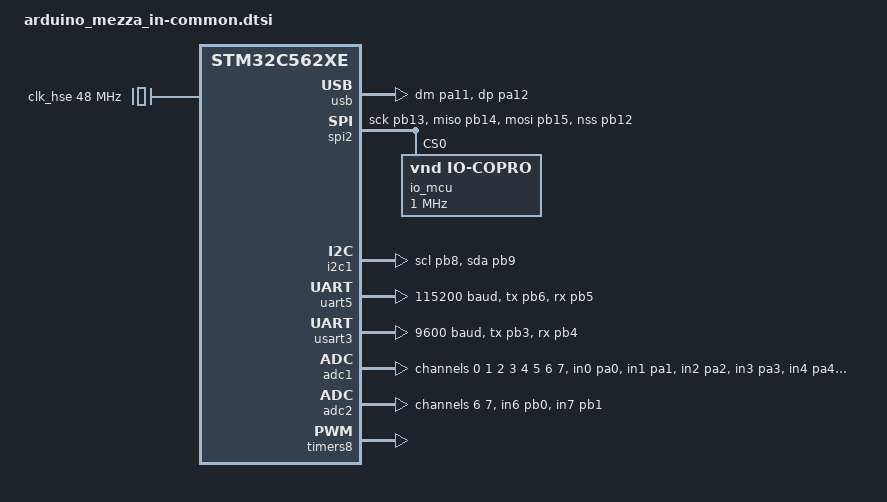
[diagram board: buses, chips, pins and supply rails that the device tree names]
/*
 * Copyright (c) 2026 Arduino SA
 *
 * SPDX-License-Identifier: Apache-2.0
 */

#include <st/c5/stm32c562Xe.dtsi>
#include <st/c5/stm32c5(5-6)2c(c-e)ux-pinctrl.dtsi>
#include <zephyr/dt-bindings/sensor/qdec_stm32.h>
#include <zephyr/dt-bindings/led/led.h>
#include <zephyr/dt-bindings/clock/stm32c5_clock.h>
#include <zephyr/dt-bindings/input/input-event-codes.h>

&flash0 {
	partitions {
		compatible = "fixed-partitions";
		#address-cells = <1>;
		#size-cells = <1>;

		boot_partition: partition@0 {
			label = "mcuboot";
			reg = <0x00000000 DT_SIZE_K(64)>;
		};

		slot0_partition: partition@10000 {
			label = "image-0";
			reg = <0x00010000 DT_SIZE_K(224)>;
		};

		slot1_partition: partition@100000 {
			label = "image-1";
			reg = <0x00208000 DT_SIZE_K(224)>;
		};
	};
};

/*
 * USB Full Speed
 */

zephyr_udc0: &usb {
	pinctrl-0 = <&usb_dm_pa11 &usb_dp_pa12>;
	pinctrl-names = "default";
	status = "okay";
};

/*
 * ------------------------------- CLOCKS
 */

&clk_hse {
	clock-frequency = <DT_FREQ_M(48)>;
	status = "okay";
};

&clk_psis {
	clock-frequency = <DT_FREQ_M(144)>;
	status = "okay";
};

&clk_hsis {
	status = "okay";
};

&rcc {
	st,psi-source = "HSE";
	st,psi-frequency = <144>;
	clock-frequency = <DT_FREQ_M(144)>;
	ahb-prescaler = <1>;
	apb1-prescaler = <1>;
	apb2-prescaler = <1>;
	apb3-prescaler = <1>;
	status = "okay";
};

/*
 * SPI
 */

/* spi to 2-nd microcontroller */
&spi2 {
	pinctrl-0 = <&spi2_sck_pb13 &spi2_miso_pb14 &spi2_mosi_pb15 &spi2_nss_pb12>;
	pinctrl-names = "default";
	status = "okay";

	io_mcu: mcu2@0 {
		compatible = "vnd,io-copro";
		reg = <0>;
		spi-max-frequency = <1000000>;
	};
};

/*
 * I2C
 */

/* espansion I2C */
&i2c1 {
	pinctrl-0 = <&i2c1_scl_pb8 &i2c1_sda_pb9>;
	pinctrl-names = "default";
	status = "okay";
};

/*
 * UART
 */

/* expansion uart */
&uart5 {
	pinctrl-0 = <&uart5_tx_pb6 &uart5_rx_pb5>;
	pinctrl-names = "default";
	current-speed = <115200>;
	status = "okay";
};

/* second mcu programming uart */
&usart3 {
	pinctrl-0 = <&usart3_tx_pb3 &usart3_rx_pb4>;
	pinctrl-names = "default";
	current-speed = <9600>;
	status = "okay";
};

/*
 *  ADC
 */

&adc1 {
	pinctrl-0 = <&adc1_in0_pa0
		     &adc1_in1_pa1
		     &adc1_in2_pa2
		     &adc1_in3_pa3
		     &adc1_in4_pa4
		     &adc1_in5_pa5
		     &adc1_in6_pa6
		     &adc1_in7_pa7>;
	pinctrl-names = "default";
	status = "okay";

	#address-cells = <1>;
	#size-cells = <0>;

	channel@0 {
		reg = <0>;
		zephyr,gain = "ADC_GAIN_1";
		zephyr,reference = "ADC_REF_INTERNAL";
		zephyr,acquisition-time = <ADC_ACQ_TIME_DEFAULT>;
		zephyr,resolution = <12>;
	};

	channel@1 {
		reg = <1>;
		zephyr,gain = "ADC_GAIN_1";
		zephyr,reference = "ADC_REF_INTERNAL";
		zephyr,acquisition-time = <ADC_ACQ_TIME_DEFAULT>;
		zephyr,resolution = <12>;
	};

	channel@2 {
		reg = <2>;
		zephyr,gain = "ADC_GAIN_1";
		zephyr,reference = "ADC_REF_INTERNAL";
		zephyr,acquisition-time = <ADC_ACQ_TIME_DEFAULT>;
		zephyr,resolution = <12>;
	};

	channel@3 {
		reg = <3>;
		zephyr,gain = "ADC_GAIN_1";
		zephyr,reference = "ADC_REF_INTERNAL";
		zephyr,acquisition-time = <ADC_ACQ_TIME_DEFAULT>;
		zephyr,resolution = <12>;
	};

	channel@4 {
		reg = <4>;
		zephyr,gain = "ADC_GAIN_1";
		zephyr,reference = "ADC_REF_INTERNAL";
		zephyr,acquisition-time = <ADC_ACQ_TIME_DEFAULT>;
		zephyr,resolution = <12>;
	};

	channel@5 {
		reg = <5>;
		zephyr,gain = "ADC_GAIN_1";
		zephyr,reference = "ADC_REF_INTERNAL";
		zephyr,acquisition-time = <ADC_ACQ_TIME_DEFAULT>;
		zephyr,resolution = <12>;
	};

	channel@6 {
		reg = <6>;
		zephyr,gain = "ADC_GAIN_1";
		zephyr,reference = "ADC_REF_INTERNAL";
		zephyr,acquisition-time = <ADC_ACQ_TIME_DEFAULT>;
		zephyr,resolution = <12>;
	};

	channel@7 {
		reg = <7>;
		zephyr,gain = "ADC_GAIN_1";
		zephyr,reference = "ADC_REF_INTERNAL";
		zephyr,acquisition-time = <ADC_ACQ_TIME_DEFAULT>;
		zephyr,resolution = <12>;
	};
};

&adc2 {
	pinctrl-0 = <&adc2_in6_pb0 &adc2_in7_pb1>;
	pinctrl-names = "default";
	status = "okay";

	#address-cells = <1>;
	#size-cells = <0>;

	channel@6 {
		reg = <6>;
		zephyr,gain = "ADC_GAIN_1";
		zephyr,reference = "ADC_REF_INTERNAL";
		zephyr,acquisition-time = <ADC_ACQ_TIME_DEFAULT>;
		zephyr,resolution = <12>;
	};

	channel@7 {
		reg = <7>;
		zephyr,gain = "ADC_GAIN_1";
		zephyr,reference = "ADC_REF_INTERNAL";
		zephyr,acquisition-time = <ADC_ACQ_TIME_DEFAULT>;
		zephyr,resolution = <12>;
	};
};

&timers8{
	st,prescaler = <254>;
	status = "okay";

	pwm2: pwm {
		pinctrl-0 = <&tim8_ch4n_pb2>;
		pinctrl-names = "default";
		four-channel-capture-support;
		status = "okay";
	};
};
